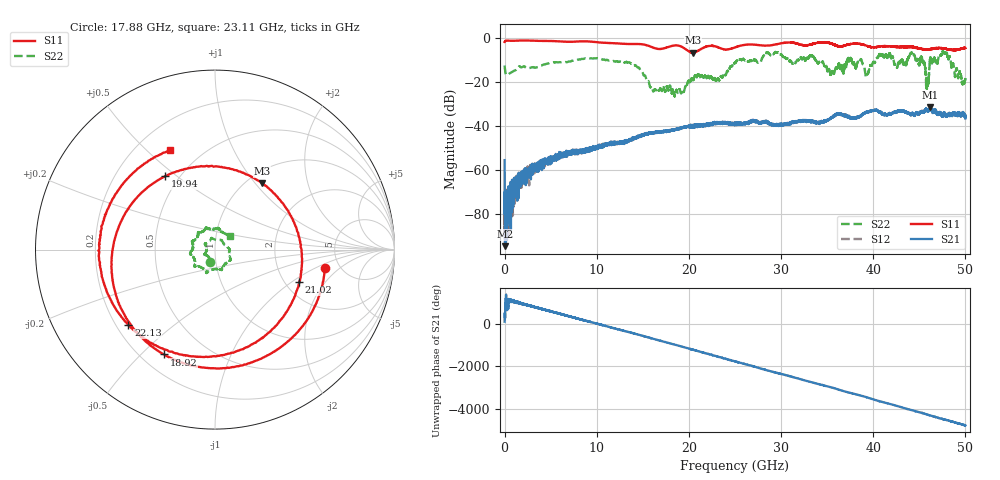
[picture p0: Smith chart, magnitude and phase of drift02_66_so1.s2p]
!Created with skrf (http://scikit-rf.org).
# Hz S RI R 50.0
!freq ReS11 ImS11 ReS21 ImS21 ReS12 ImS12 ReS22 ImS22
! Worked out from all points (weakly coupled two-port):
!   10001 points, 300 kHz to 50 GHz, reference 50 ohm
!   highest |S21| = -31.53 dB at 46.18 GHz (marker M1); lowest = -94.6 dB at 45.3 MHz (marker M2)
!   lowest |S11| = -6.9 dB at 20.44 GHz (marker M3), VSWR 2.65, Z = 58.5 + j54.1 ohm
!   |S11| at or under -10 dB: nowhere
!   |S22| runs from -26.7 to -6.1 dB; largest |S21 - S12| = 0.0034
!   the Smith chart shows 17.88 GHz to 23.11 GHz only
!   S11 on the Smith chart (normalised r, x): 17.88 GHz: 3.83, -1.26; 18.92 GHz: 0.29, -0.59; 19.94 GHz: 0.42, +0.46; 21.02 GHz: 2.37, -1.15; 22.13 GHz: 0.25, -0.35; 23.11 GHz: 0.34, +0.59
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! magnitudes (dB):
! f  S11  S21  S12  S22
! 300 kHz  -2.1  -55.6  -74.1  -12.7
! 45.3 MHz  -1.7  -94.6  -73.1  -14.7
! 260.3 MHz  -1.4  -91.9  -87.0  -17.0
! 2.965 GHz  -1.4  -59.1  -60.8  -13.6
! 8.335 GHz  -1.7  -51.7  -51.2  -9.7
! 13.71 GHz  -2.9  -46.4  -46.3  -11.7
! 16.67 GHz  -5.2  -43.1  -42.8  -23.7
! 17.88 GHz  -4.1  -42.2  -42.2  -22.5
! 18.92 GHz  -3.7  -41.2  -41.6  -23.6
! 19.94 GHz  -6.1  -40.2  -40.3  -19.7
! 20.44 GHz  -6.9  -39.8  -39.8  -19.2
! 21.02 GHz  -6.0  -39.6  -40.1  -16.8
! 22.13 GHz  -3.9  -39.2  -39.6  -17.7
! 23.11 GHz  -4.3  -39.0  -38.9  -18.9
! 25 GHz  -4.5  -39.2  -39.4  -11.6
! 33.34 GHz  -3.0  -37.6  -38.1  -8.4
! 39.32 GHz  -3.8  -33.8  -33.7  -17.0
! 41.67 GHz  -4.0  -34.8  -34.6  -7.9
! 45.85 GHz  -5.4  -32.9  -33.1  -19.8
! 46.18 GHz  -5.2  -31.5  -31.9  -10.3
! 47.75 GHz  -5.0  -34.5  -34.3  -7.0
! 50 GHz  -4.7  -36.7  -35.5  -18.3
